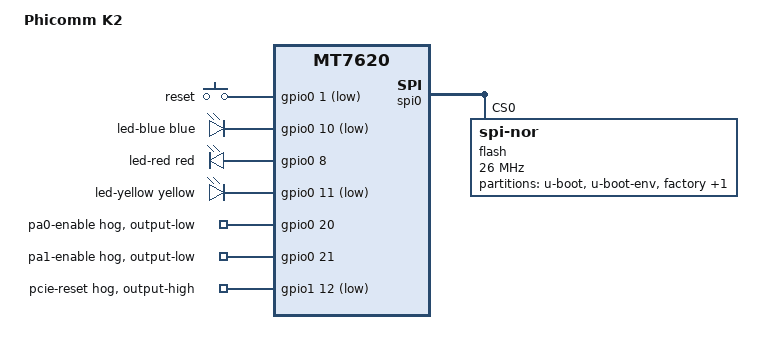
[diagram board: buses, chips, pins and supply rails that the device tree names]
// SPDX-License-Identifier: GPL-2.0-or-later

/dts-v1/;

#include "mt7620.dtsi"

#include <dt-bindings/gpio/gpio.h>
#include <dt-bindings/input/input.h>
#include <dt-bindings/leds/common.h>

/ {
	compatible = "phicomm,k2", "mediatek,mt7620-soc";
	model = "Phicomm K2";

	/delete-node/ clock-48m;
	/delete-node/ serial@10000500;
	/delete-node/ watchdog@10000120;
	/delete-node/ usb-phy;
	/delete-node/ ehci@101c0000;
	/delete-node/ mmc@10130000;

	aliases {
		serial0 = &uartlite;
		spi0 = &spi0;
	};

	chosen {
		stdout-path = "serial0:115200n8";
	};

	gpio-keys {
		compatible = "gpio-keys";

		button-reset {
			label = "reset";
			linux,code = <KEY_RESTART>;
			gpios = <&gpio0 1 GPIO_ACTIVE_LOW>;
		};
	};

	gpio-leds {
		compatible = "gpio-leds";

		led-blue {
			color = <LED_COLOR_ID_BLUE>;
			function = LED_FUNCTION_STATUS;
			gpios = <&gpio0 10 GPIO_ACTIVE_LOW>;
			default-state = "on";
		};

		led-red {
			color = <LED_COLOR_ID_RED>;
			function = LED_FUNCTION_STATUS;
			gpios = <&gpio0 8 GPIO_ACTIVE_HIGH>;
			default-state = "off";
		};

		led-yellow {
			color = <LED_COLOR_ID_YELLOW>;
			function = LED_FUNCTION_STATUS;
			gpios = <&gpio0 11 GPIO_ACTIVE_LOW>;
			default-state = "off";
		};
	};

	options {
		u-boot {
			compatible = "u-boot,config";
			boot-btn1 = "reset";
			boot-led1 = "blue:status";
			boot-led2 = "red:status";
			bootcmd_1-1 = "tftp_boot_ik";
			bootcmd_1-2 = "tftp_update_fw";
			bootcmd_1-3 = "switch_console";
			bootcmd_1-4 = "env init";
		};
	};
};

&gpio0 {
	pa0-enable {
		gpio-hog;
		gpios = <20 GPIO_ACTIVE_HIGH>;
		output-low;
	};

	pa1-enable {
		gpio-hog;
		gpios = <21 GPIO_ACTIVE_HIGH>;
		output-low;
	};
};

&gpio1 {
	pcie-reset {
		gpio-hog;
		gpios = <12 GPIO_ACTIVE_LOW>;
		output-high;
	};
};

&pinctrl {
	/delete-node/ nand_pins;
	/delete-node/ sd_pins;
	/delete-node/ spi_dual_pins;
	/delete-node/ uartf_pins;
	/delete-node/ uartf_pcm_pins;
	/delete-node/ uartf_i2s_pins;
	/delete-node/ uartf_gpio_pins;
};

&spi0 {
	flash@0 {
		compatible = "jedec,spi-nor";
		reg = <0>;
		spi-max-frequency = <26000000>;

		partitions {
			compatible = "fixed-partitions";
			#address-cells = <1>;
			#size-cells = <1>;

			partition@0 {
				label = "u-boot";
				reg = <0x00000 0x30000>;
			};

			partition@30000 {
				label = "u-boot-env";
				reg = <0x30000 0x10000>;
			};

			partition@40000 {
				label = "factory";
				reg = <0x40000 0x10000>;
			};

			partition@50000 {
				label = "firmware";
				reg = <0x50000 0x00000>;
			};
		};
	};
};

&state_default {
	gpios {
		groups = "i2c", "uartf", "mdio", "rgmii1", "rgmii2", "perst", \
			 "nand", "pa", "wdt rst", "wled", "ephy led";
		function = "gpio";
	};
};
